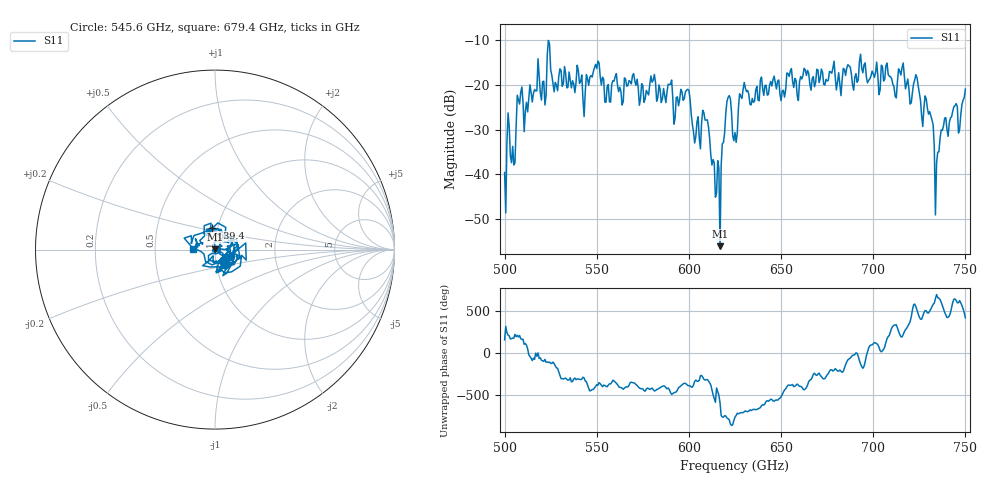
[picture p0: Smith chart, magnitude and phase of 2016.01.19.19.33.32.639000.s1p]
!Created with skrf (http://scikit-rf.org).
# GHz S RI R 50.0
!freq ReS11 ImS11
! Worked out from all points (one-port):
!   401 points, 500 GHz to 750 GHz, reference 50 ohm
!   lowest |S11| = -56.0 dB at 616.9 GHz (marker M1), VSWR 1.00, Z = 49.9 + j0.114 ohm
!   |S11| at or under -10 dB: start of sweep to end of sweep
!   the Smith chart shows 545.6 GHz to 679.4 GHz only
!   S11 on the Smith chart (normalised r, x): 545.6 GHz: 1.10, -0.18; 639.4 GHz: 0.94, +0.23; 679.4 GHz: 0.78, +0.01
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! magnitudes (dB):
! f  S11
! 500 GHz  -39.6
! 502.5 GHz  -29.4
! 505 GHz  -37.9
! 508.1 GHz  -24.3
! 521.2 GHz  -19.2
! 524.4 GHz  -10.9
! 527.5 GHz  -19.5
! 531.2 GHz  -20.3
! 545.6 GHz  -20.1
! 562.5 GHz  -20.6
! 593.8 GHz  -22.7
! 599.4 GHz  -21.0
! 603.1 GHz  -33.0
! 608.8 GHz  -27.9
! 615.6 GHz  -36.9
! 616.9 GHz  -56.0
! 621.2 GHz  -22.8
! 625 GHz  -30.7
! 628.8 GHz  -23.0
! 639.4 GHz  -18.3
! 656.2 GHz  -19.3
! 679.4 GHz  -18.3
! 687.5 GHz  -16.0
! 718.8 GHz  -18.7
! 729.4 GHz  -25.2
! 734.4 GHz  -37.4
! 738.1 GHz  -29.2
! 750 GHz  -21.0
